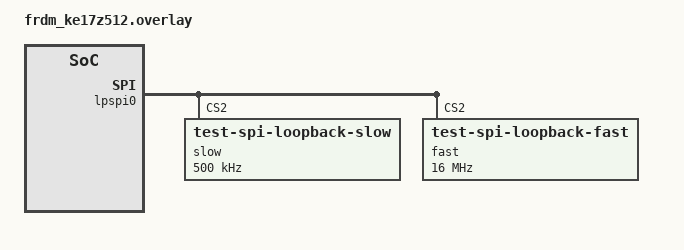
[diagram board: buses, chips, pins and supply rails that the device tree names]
/*
 * Copyright 2024 NXP
 *
 * SPDX-License-Identifier: Apache-2.0
 */

/* To test this sample, connect
 * LPSPI0 SIN(J2-10)  -->  LPSPI0 SOUT(J2-8)
 */

&lpspi0 {
	slow@2 {
		compatible = "test-spi-loopback-slow";
		reg = <2>;
		spi-max-frequency = <500000>;
	};
	fast@2 {
		compatible = "test-spi-loopback-fast";
		reg = <2>;
		spi-max-frequency = <16000000>;
	};
};
